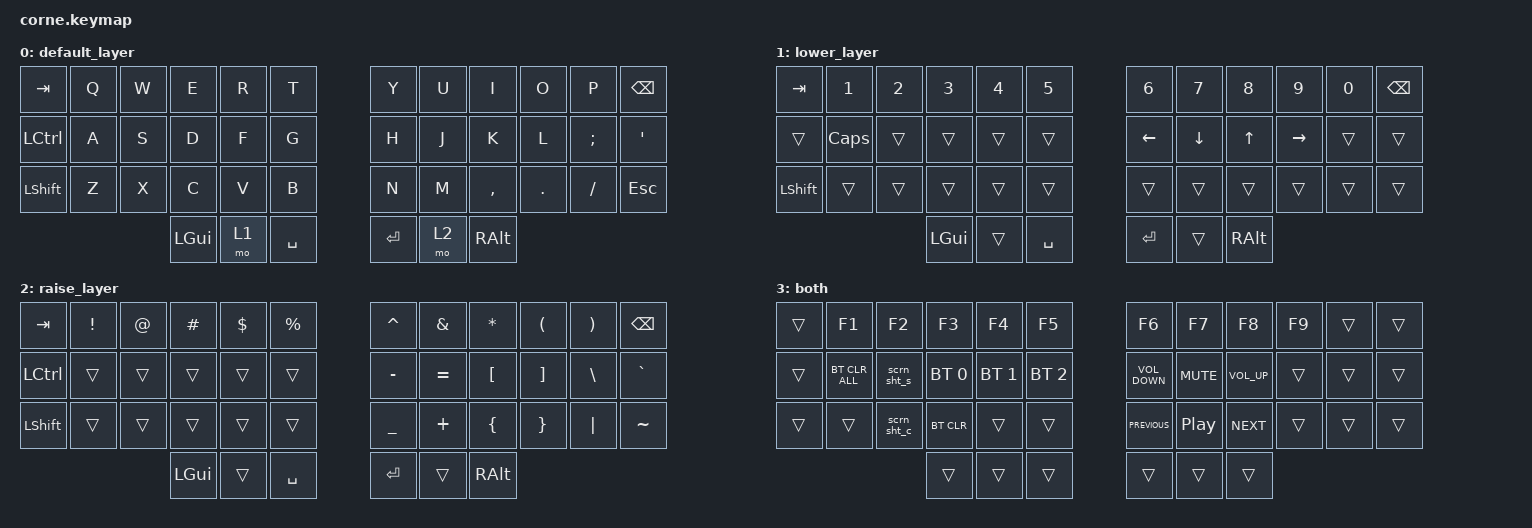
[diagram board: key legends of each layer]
/*
 * Copyright (c) 2020 The ZMK Contributors
 *
 * SPDX-License-Identifier: MIT
 */

#include <behaviors.dtsi>
#include <dt-bindings/zmk/bt.h>
#include <dt-bindings/zmk/keys.h>

/ {

    /*########################################################################
     * Macros
     #######################################################################*/
    macros {
        scrn_sht_s: scrn_sht_s {
            compatible = "zmk,behavior-macro";
            #binding-cells = <0>;
            bindings 
                = <&macro_press &kp LSHFT &kp LGUI &kp N4>
                , <&macro_release &kp LSHFT &kp LGUI &kp N4>;
        };
        scrn_sht_c: scrn_sht_c {
            compatible = "zmk,behavior-macro";
            #binding-cells = <0>;
            bindings 
                = <&macro_press &kp LSHFT &kp LGUI &kp N5>
                , <&macro_release &kp LSHFT &kp LGUI &kp N5>;
        };
    };

    /*########################################################################
     * Keymap
     #######################################################################*/
    keymap {
        compatible = "zmk,keymap";

        default_layer {
            // -------------------------------------     --------------------------------------
            // |  TAB |  Q  |  W  |  E  |  R  |  T  |   |  Y  |  U   |  I  |  O  |  P  | BSPC |
            // --------------------------------------   ---------------------------------------
            // | CTRL |  A  |  S  |  D  |  F  |  G  |   |  H  |  J   |  K  |  L  |  ;  |  '   |
            // --------------------------------------   ---------------------------------------
            // | SHFT |  Z  |  X  |  C  |  V  |  B  |   |  N  |  M   |  ,  |  .  |  /  | ESC  |
            // --------------------------------------   ---------------------------------------
            //                    | GUI | LWR | SPC |   | ENT | RSE  | ALT |
            //                    ------------------     -------------------

            bindings = <
&kp TAB    &kp Q  &kp W  &kp E     &kp R  &kp T        &kp Y    &kp U  &kp I      &kp O    &kp P     &kp BSPC
&kp LCTRL  &kp A  &kp S  &kp D     &kp F  &kp G        &kp H    &kp J  &kp K      &kp L    &kp SEMI  &kp SQT
&kp LSHFT  &kp Z  &kp X  &kp C     &kp V  &kp B        &kp N    &kp M  &kp COMMA  &kp DOT  &kp FSLH  &kp ESC
                         &kp LGUI  &mo 1  &kp SPACE    &kp RET  &mo 2  &kp RALT
            >;
        };

        lower_layer {
            // -------------------------------------     -------------------------------------
            // |  TAB |  1  |  2  |  3  |  4  |  5  |   |  6  |  7  |  8  |  9  |  0  | BSPC |
            // --------------------------------------   --------------------------------------
            // |      |CAPS |     |     |     |     |   | LFT | DWN |  UP | RGT |     |      |
            // --------------------------------------   --------------------------------------
            // | SHFT |     |     |     |     |     |   |     |     |     |     |     |      |
            // --------------------------------------   --------------------------------------
            //                    | GUI |     | SPC |   | ENT |     | ALT |
            //                    ------------------     -----------------

            bindings = <
&kp TAB    &kp N1        &kp N2  &kp N3    &kp N4  &kp N5       &kp N6    &kp N7    &kp N8    &kp N9     &kp N0  &kp BSPC
&trans     &kp CAPSLOCK  &trans  &trans    &trans  &trans       &kp LEFT  &kp DOWN  &kp UP    &kp RIGHT  &trans  &trans
&kp LSHFT  &trans        &trans  &trans    &trans  &trans       &trans    &trans    &trans    &trans     &trans  &trans
                                 &kp LGUI  &trans  &kp SPACE    &kp RET   &trans    &kp RALT
            >;
        };

        raise_layer {
            // -------------------------------------     -------------------------------------
            // |  TAB |  !  |  @  |  #  |  $  |  %  |   |  ^  |  &  |  *  |  (  |  )  | BSPC |
            // --------------------------------------   --------------------------------------
            // | CTRL |     |     |     |     |     |   |  -  |  =  |  [  |  ]  |  \  |  `   |
            // --------------------------------------   --------------------------------------
            // | SHFT |     |     |     |     |     |   |  _  |  +  |  {  |  }  | "|" |  ~   |
            // --------------------------------------   --------------------------------------
            //                    | GUI |     | SPC |   | ENT |     | ALT |
            //                    ------------------     ------------------

            bindings = <
&kp TAB    &kp EXCL  &kp AT  &kp HASH  &kp DLLR  &kp PRCNT    &kp CARET  &kp AMPS   &kp ASTRK  &kp LPAR  &kp RPAR  &kp BSPC
&kp LCTRL  &trans    &trans  &trans    &trans    &trans       &kp MINUS  &kp EQUAL  &kp LBKT   &kp RBKT  &kp BSLH  &kp GRAVE
&kp LSHFT  &trans    &trans  &trans    &trans    &trans       &kp UNDER  &kp PLUS   &kp LBRC   &kp RBRC  &kp PIPE  &kp TILDE
                             &kp LGUI  &trans    &kp SPACE    &kp RET    &trans     &kp RALT
            >;
        };

        both {
            // -----------------------------------------------------     -----------------------------------------
            // |      | F1        | F2         | F3    | F4   | F5  |   | F6   | F7   | F8    | F9  |     |      |
            // ------------------------------------------------------   ------------------------------------------
            // |      | BTCLR_ALL | scrn_sht_s | BT1   | BT2  | BT3 |   | VOL_D| MUTE | VOL_U |     |     |      |
            // ------------------------------------------------------   ------------------------------------------
            // |      |           | scrn_sht_c | BTCLR |      |     |   | PREV | Play | NEXT  |     |     |      |
            // ------------------------------------------------------   ------------------------------------------
            //                                 |       |      |     |   |      |      |       |
            //                                 ---------------------     ----------------------
         
            bindings = <
&trans  &kp F1          &kp F2        &kp F3        &kp F4        &kp F5          &kp F6             &kp F7            &kp F8           &kp F9  &trans  &trans
&trans  &bt BT_CLR_ALL  &scrn_sht_s   &bt BT_SEL 0  &bt BT_SEL 1  &bt BT_SEL 2    &kp C_VOLUME_DOWN  &kp C_MUTE        &kp C_VOLUME_UP  &trans  &trans  &trans
&trans  &trans          &scrn_sht_c   &bt BT_CLR    &trans        &trans          &kp C_PREVIOUS     &kp C_PLAY_PAUSE  &kp C_NEXT       &trans  &trans  &trans
                                      &trans        &trans        &trans          &trans             &trans            &trans
            >;
        };
    };

    /*########################################################################
     * Conditional Layers
     #######################################################################*/
    conditional_layers {
        compatible = "zmk,conditional-layers";
        tri_layer {
            if-layers = <1 2>;
            then-layer = <3>;
        };
    };
};
